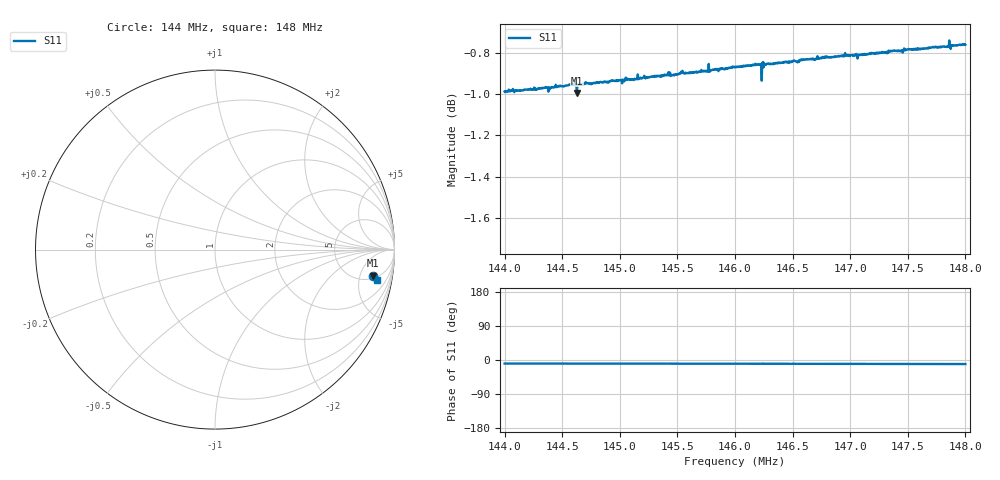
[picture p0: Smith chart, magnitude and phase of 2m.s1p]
! Calibrated averaged scanner-service zoom
# Hz S RI R 50
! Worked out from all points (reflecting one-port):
!   1001 points, 144 MHz to 148 MHz, reference 50 ohm
!   lowest |S11| = -1.0 dB at 144.63 MHz (marker M1), VSWR 17.50, Z = 288 - j409 ohm
!   phase of S11 starts at -9 deg and turns -1 deg over the sweep
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1.44e8  0.8806 -0.1457
1.445e8  0.8832 -0.1468
1.44596e8  0.8837 -0.1476
1.44628e8  0.88 -0.1453
1.44644e8  0.8836 -0.1478
1.44708e8  0.8845 -0.1482
1.44876e8  0.8853 -0.1481
1.45e8  0.8858 -0.1491
1.45096e8  0.8862 -0.1491
1.455e8  0.8883 -0.1521
1.45536e8  0.8891 -0.152
1.45684e8  0.8894 -0.1527
1.46e8  0.8915 -0.1546
1.46208e8  0.8928 -0.1558
1.46212e8  0.8925 -0.1561
1.4622e8  0.8923 -0.1562
1.46224e8  0.8929 -0.1559
1.46244e8  0.8952 -0.1484
1.46264e8  0.8925 -0.1563
1.46268e8  0.8923 -0.1566
1.465e8  0.8939 -0.158
1.47e8  0.8965 -0.1619
1.47368e8  0.8983 -0.1646
1.4744e8  0.8983 -0.1651
1.475e8  0.8988 -0.1657
1.47836e8  0.8996 -0.1681
1.4788e8  0.9 -0.1687
1.48e8  0.9004 -0.1697
